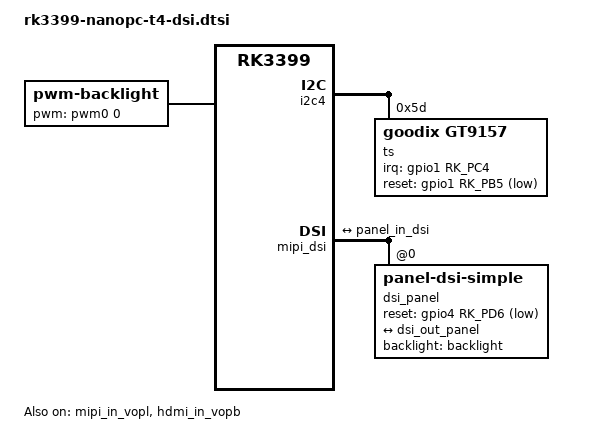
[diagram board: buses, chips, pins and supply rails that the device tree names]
// SPDX-License-Identifier: (GPL-2.0+ OR MIT)
/*
 * FriendlyElec NanoPC-T4 board mipi dis device tree source
 */

#include <dt-bindings/display/drm_mipi_dsi.h>

/ {
	backlight: backlight {
		compatible = "pwm-backlight";
		pwms = <&pwm0 0 25000 0>;
		brightness-levels = <
			20 20 21 21 21 22 22 22
			23 23 24 24 24 25 25 25
			26 26 27 27 27 28 28 28
			29 29 30 30 30 31 31 31
			32 32 33 33 33 34 34 34
			35 35 36 36 36 37 37 37
			38 38 39 39 39 40 40 40
			41 41 42 42 42 43 43 43
			44 44 45 45 45 46 46 46
			47 47 48 48 48 49 49 49
			50 50 51 51 51 52 52 52
			53 53 54 54 54 55 55 55
			56 56 57 57 57 58 58 58
			59 59 60 60 60 61 61 61
			62 62 63 63 63 64 64 64
			65 65 66 66 66 67 67 67
			68 68 69 69 69 70 70 70
			71 71 72 72 72 73 73 73
			74 74 75 75 75 76 76 76
			77 77 78 78 78 79 79 79
			80 80 81 81 81 82 82 82
			83 83 84 84 84 85 85 85
			86 86 87 87 87 88 88 88
			89 89 90 90 90 91 91 91
			92 92 93 93 93 94 94 94
			95 95 96 96 96 97 97 97
			98 98 98 99 99 99 100 100
		>;
		default-brightness-level = <50>;
	};
};

&i2c4 {
	status = "okay";
	ts@5d {
		compatible = "goodix,gt9157";
		reg = <0x5d>;
		interrupt-parent = <&gpio1>;
		interrupts = <RK_PC4 IRQ_TYPE_EDGE_FALLING>;
		irq-gpios = <&gpio1 RK_PC4 GPIO_ACTIVE_HIGH>;
		reset-gpios = <&gpio1 RK_PB5 GPIO_ACTIVE_LOW>;
		wakeup-source;
		touchscreen-size-x = <720>;
		touchscreen-size-y = <1280>;
		pinctrl-0 = <&touch_int_gpio>;
	};
};

&mipi_in_vopl {
	status = "okay";
};

&mipi_in_vopb {
	status = "disabled";
};

&hdmi_in_vopb {
	status = "okay";
};

&hdmi_in_vopl {
	status = "disabled";
};

&mipi_dsi {
	status = "okay";
	rockchip,lane-rate = <580>; //(720+8+8+16)*(1280+8+8+16)*60*3*8/3,+100mhz
	dsi_panel: panel@0 {
		status = "okay";
		compatible = "panel-dsi-simple";
		reset-gpios = <&gpio4 RK_PD6 GPIO_ACTIVE_LOW>;
		pinctrl-names = "default";
		pinctrl-0 = <&dsi_rst_gpio>;
		reg = <0>;
		backlight = <&backlight>;
		reset-delay-ms = <200>;
		enable-delay-ms = <100>;
		prepare-delay-ms = <20>;
		unprepare-delay-ms = <20>;
		disable-delay-ms = <20>;
		init-delay-ms = <120>;
		dsi,flags = <(MIPI_DSI_MODE_VIDEO | MIPI_DSI_MODE_VIDEO_BURST |
			MIPI_DSI_MODE_LPM | MIPI_DSI_MODE_EOT_PACKET)>;
		dsi,format = <MIPI_DSI_FMT_RGB888>;
		dsi,lanes  = <3>;
		width-mm = <74>;
		height-mm = <132>;
		rotation = <270>;
		panel-init-sequence = [
			// init code
			// Set EXTC
			39 00 04 B9 FF 83 94
			// Set MIPI
			39 00 03 BA 72 83
			// Set Power HX5186 Mode
			39 00 10 B1 6C 15 15 24 E4 11 F1 80 E4 97 23 80 C0 D2 58
			// Set Display
			39 00 0C B2 00 64 10 07 22 1C 08 08 1C 4D 00
			// Set CYC
			39 00 0D B4 00 FF 03 5A 03 5A 03 5A 01 6A 30 6A
			// Set VDC
			15 00 02 BC 07
			// Set Power ption HX5186 Mode
			39 00 04 BF 41 0E 01
			// Set D3
			39 00 1F D3 00 06 00 40 07 08 00 32 10 07 00 07 54 15 0F 05 04 02 12 10 05 07 33 33 0B 0B 37 10 07 07
			// Set GIP,Forward
			39 00 2D D5 04 05 06 07 00 01 02 03 20 21 22 23 18 18 18 18 18 18 18 18 19 19 18 18 18 18 1B 1B 1A 1A 18 18 18 18 18 18 18 18 18 18 18 18 18 18
			// Set D6,Backward
			39 00 2D D6 03 02 01 00 07 06 05 04 23 22 21 20 18 18 18 18 18 18 58 58 18 18 19 19 18 18 1B 1B 1A 1A 18 18 18 18 18 18 18 18 18 18 18 18 18 18
			// Set Panel
			15 00 02 CC 09 // 08: invert RGB
			// Set VCOM
			39 00 03 B6 51 51
			// Set Gamma
			39 00 2B E0 00 10 16 2D 33 3F 23 3E 07 0B 0D 17 0E 12 14 12 13 06 11 13 18 00 0F 16 2E 33 3F 23 3D 07 0B 0D 18 0F 12 14 12 14 07 11 12 17
			// Set C0
			39 00 03 C0 30 14
			// Set TCON ption
			39 00 05 C7 00 C0 40 C0
			// Set SAP_L ption
			15 00 02 DF 87
			// Set SETOFFSET
			15 00 02 D2 66 
			// 
			15 78 02 11 00
			15 28 02 29 00
		];

		panel-exit-sequence = [
			//05 00 01 28
			//05 00 01 10
		];

		disp_timings: display-timings {
			native-mode = <&dsi_timing0>;
			dsi_timing0: timing0 {
				clock-frequency = <59197440>;// (720+8+8+16)*(1280+8+8+16)*60

				hactive = <720>;
				hfront-porch = <8>;
				hback-porch = <8>;
				hsync-len = <16>;

				vactive = <1280>;
				vfront-porch = <8>;
				vback-porch = <8>;
				vsync-len = <16>;

				hsync-active = <0>;
				vsync-active = <0>;
				de-active = <0>;
				pixelclk-active = <0>;

				swap-rb = <0>;
				swap-rg = <0>;
				swap-gb = <0>;
			};
		};

		ports {
			#address-cells = <1>;
			#size-cells = <0>;

			port@0 {
				reg = <0>;
				panel_in_dsi: endpoint {
					remote-endpoint = <&dsi_out_panel>;
				};
			};
		};
	};

	ports {
		#address-cells = <1>;
		#size-cells = <0>;

		mipi_out: port@1 {
			reg = <1>;
			dsi_out_panel: endpoint {
				remote-endpoint = <&panel_in_dsi>;
			};
		};
	};
};

&pinctrl {
	dsi {
		dsi_rst_gpio: dsi-rst-gpio {
			rockchip,pins = <4 RK_PD6 RK_FUNC_GPIO &pcfg_pull_none>;
		};
		touch_int_gpio: touch-int-gpio {
			rockchip,pins = <1 RK_PC4 RK_FUNC_GPIO &pcfg_pull_up>;
		};
	};
};
